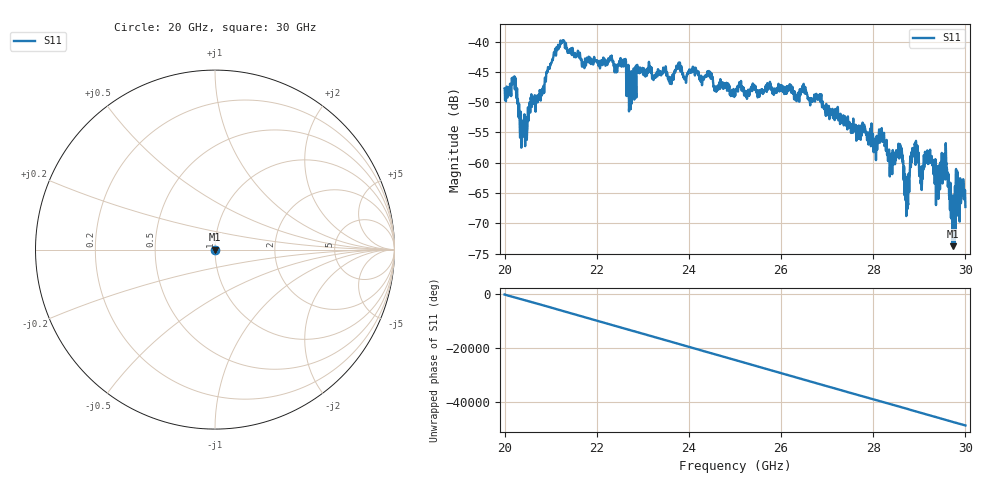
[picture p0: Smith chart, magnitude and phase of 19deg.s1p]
#  HZ  S  RI  R  50.00
! Rohde & Schwarz ZVA40 4Ports - Version 3.90 - 1145.1110k42 SN: 100403
! Date: 2023-10-03 10:28:02
! Measurement: S12
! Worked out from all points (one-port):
!   5001 points, 20 GHz to 30 GHz, reference 50 ohm
!   lowest |S11| = -73.8 dB at 29.72 GHz (marker M1), VSWR 1.00, Z = 50 - j0.0175 ohm
!   |S11| at or under -10 dB: start of sweep to end of sweep
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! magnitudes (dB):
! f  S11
! 20 GHz  -47.7
! 20.2 GHz  -46.2
! 20.34 GHz  -52.3
! 20.45 GHz  -56.2
! 20.58 GHz  -48.9
! 20.82 GHz  -47.8
! 21.25 GHz  -40.1
! 21.72 GHz  -43.9
! 22.5 GHz  -43.8
! 22.75 GHz  -44.9
! 22.91 GHz  -44.5
! 23.59 GHz  -46.9
! 23.75 GHz  -44.1
! 25 GHz  -48.4
! 26.25 GHz  -47.6
! 27.5 GHz  -53.6
! 28.19 GHz  -55.9
! 28.37 GHz  -60.8
! 28.59 GHz  -57.4
! 28.75 GHz  -66.7
! 28.88 GHz  -57.7
! 29.04 GHz  -62.8
! 29.22 GHz  -59.8
! 29.4 GHz  -62.4
! 29.53 GHz  -60.9
! 29.72 GHz  -73.8
! 29.84 GHz  -66.6
! 30 GHz  -67.3
